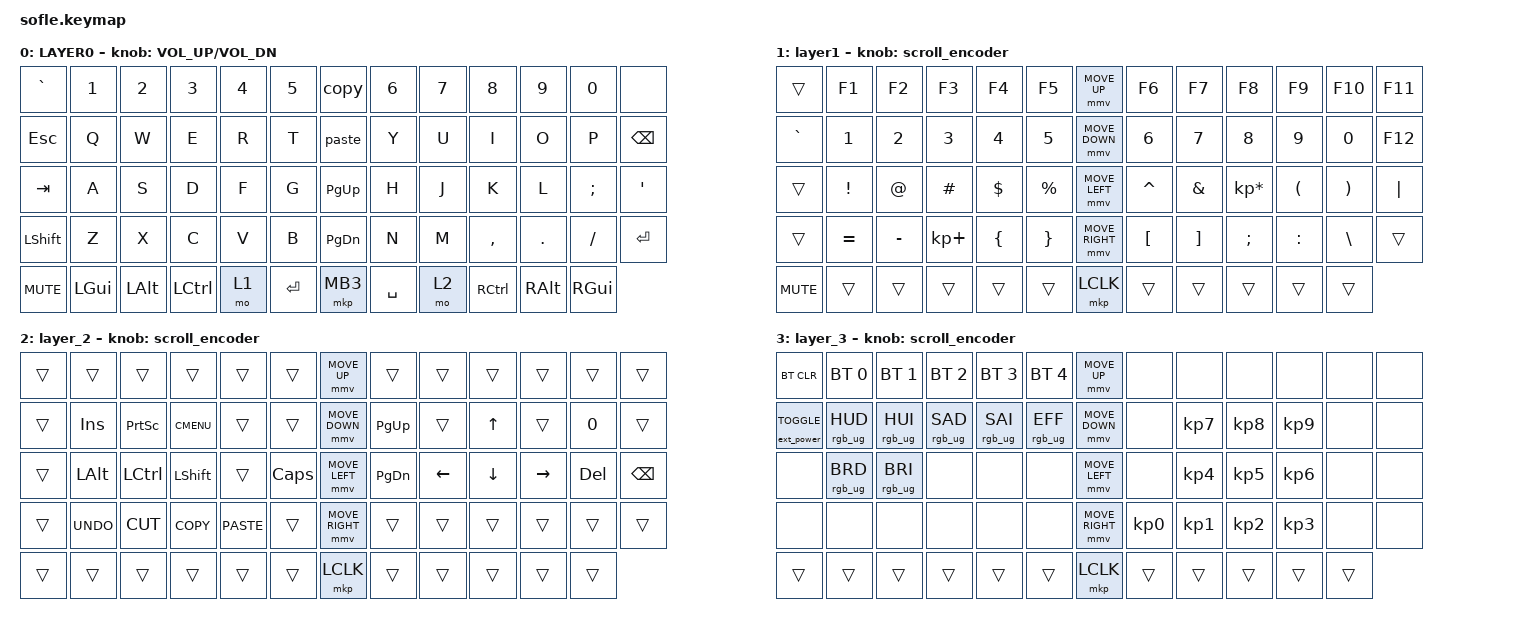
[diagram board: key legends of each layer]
#include <behaviors/mouse_keys.dtsi>
#include <behaviors.dtsi>
#include <dt-bindings/zmk/bt.h>
#include <dt-bindings/zmk/keys.h>
#include <dt-bindings/zmk/mouse.h>
#include <dt-bindings/zmk/outputs.h>
#include <dt-bindings/zmk/rgb.h>
#include <dt-bindings/zmk/ext_power.h>

#define ZMK_MOUSE_DEFAULT_MOVE_VAL 1200  // 600
#define ZMK_MOUSE_DEFAULT_SCRL_VAL 20    // 10
#define U_MS_U &mmv MOVE_UP
#define U_MS_D &mmv MOVE_DOWN
#define U_MS_L &mmv MOVE_LEFT
#define U_MS_R &mmv MOVE_RIGHT

#define BASE 0
#define LOWER 1
#define RAISE 2
#define ADJUST 3

/ {
    behaviors {
        mmv {
            acceleration-exponent = <1>;      // 1
            time-to-max-speed-ms = <900>;    // 40
            delay-ms = <0>;                   // 0
        };

        msc {
            acceleration-exponent = <1>;      // 0
            time-to-max-speed-ms = <400>;      // 500
            delay-ms = <0>;                   //   10
        };
        
        paste: paste {
            compatible = "zmk,behavior-macro";
            #binding-cells = <0>;
            bindings = <&kp LCTRL &kp V>;
        };

        copy: copy {
            compatible = "zmk,behavior-macro";
            #binding-cells = <0>;
            bindings = <&kp LCTRL &kp C>;
        };
    };

    scroll_encoder: scroll_encoder {
        compatible = "zmk,behavior-sensor-rotate";
        #sensor-binding-cells = <0>;
        bindings = <&msc SCRL_DOWN>, <&msc SCRL_UP>;

        tap-ms = <30>;
    };

    conditional_layers {
        compatible = "zmk,conditional-layers";
        adjust_layer {
            if-layers = <LOWER RAISE>;
            then-layer = <ADJUST>;
        };
    };

    keymap {
        compatible = "zmk,keymap";

        layer0 {
            bindings = <
&kp GRAVE   &kp N1         &kp N2        &kp N3        &kp N4  &kp N5       &copy            &kp N6     &kp N7     &kp N8     &kp N9              &kp N0      &none
&kp ESC     &kp Q          &kp W         &kp E         &kp R   &kp T        &paste           &kp Y      &kp U      &kp I      &kp O               &kp P       &kp BACKSPACE
&kp TAB     &kp A          &kp S         &kp D         &kp F   &kp G        &kp PG_UP        &kp H      &kp J      &kp K      &kp L               &kp SEMI    &kp APOS
&kp LSHFT   &kp Z          &kp X         &kp C         &kp V   &kp B        &kp PG_DN        &kp N      &kp M      &kp COMMA  &kp DOT             &kp FSLH    &kp ENTER
&kp C_MUTE  &kp LEFT_GUI   &kp LEFT_ALT  &kp LCTRL     &mo 1   &kp ENTER    &mkp MB3         &kp SPACE  &mo 2      &kp RCTRL      &kp RIGHT_ALT   &kp RIGHT_GUI
            >;

            sensor-bindings = <&inc_dec_kp C_VOLUME_UP C_VOL_DN>;
            display-name = "LAYER0";
        };

        layer_1 {
            bindings = <
&trans      &kp F1    &kp F2    &kp F3      &kp F4    &kp F5     &mmv MOVE_UP     &kp F6    &kp F7   &kp F8          &kp F9    &kp F10   &kp F11
&kp GRAVE   &kp N1    &kp N2    &kp N3      &kp N4    &kp N5     &mmv MOVE_DOWN   &kp N6    &kp N7   &kp N8          &kp N9    &kp N0    &kp F12
&trans      &kp EXCL  &kp AT    &kp HASH    &kp DLLR  &kp PRCNT  &mmv MOVE_LEFT   &kp CARET &kp AMPS &kp KP_MULTIPLY &kp LPAR  &kp RPAR  &kp PIPE
&trans      &kp EQUAL &kp MINUS &kp KP_PLUS &kp LBRC  &kp RBRC   &mmv MOVE_RIGHT  &kp LBKT  &kp RBKT &kp SEMI        &kp COLON &kp BSLH  &trans
&kp C_MUTE  &trans    &trans    &trans      &trans    &trans     &mkp LCLK        &trans    &trans   &trans          &trans    &trans
            >;

            display-name = "layer1";
            sensor-bindings = <&scroll_encoder>;
        };

        layer_2 {
            bindings = <
&trans 	   &trans	&trans	     &trans	  &trans       &trans     &mmv MOVE_UP     &trans    &trans    &trans   &trans    &trans  &trans
&trans     &kp INS      &kp PSCRN    &kp K_CMENU  &trans       &trans     &mmv MOVE_DOWN   &kp PG_UP &trans    &kp UP   &trans    &kp N0  &trans
&trans     &kp LALT     &kp LCTRL    &kp LSHFT    &trans       &kp CLCK   &mmv MOVE_LEFT   &kp PG_DN &kp LEFT  &kp DOWN &kp RIGHT &kp DEL &kp BACKSPACE
&trans     &kp K_UNDO   &kp K_CUT    &kp K_COPY   &kp K_PASTE  &trans     &mmv MOVE_RIGHT  &trans    &trans    &trans   &trans    &trans  &trans
&trans     &trans        &trans          &trans        &trans        &trans          &mkp LCLK        &trans  &trans  &trans      &trans     &trans
            >;

            sensor-bindings = <&scroll_encoder>;
        };

        layer_3 {
            bindings = <
&bt BT_CLR                      &bt BT_SEL 0    &bt BT_SEL 1    &bt BT_SEL 2    &bt BT_SEL 3    &bt BT_SEL 4    &mmv MOVE_UP     &none &none &none &none &none &none
&ext_power EXT_POWER_TOGGLE_CMD &rgb_ug RGB_HUD &rgb_ug RGB_HUI &rgb_ug RGB_SAD &rgb_ug RGB_SAI &rgb_ug RGB_EFF &mmv MOVE_DOWN   &none &kp KP_N7 &kp KP_N8 &kp KP_N9 &none &none
&none                           &rgb_ug RGB_BRD &rgb_ug RGB_BRI &none           &none           &none           &mmv MOVE_LEFT   &none &kp KP_N4 &kp KP_N5 &kp KP_N6 &none &none
&none                           &none           &none           &none           &none           &none           &mmv MOVE_RIGHT  &kp KP_N0 &kp KP_N1 &kp KP_N2 &kp KP_N3 &none &none
&trans     &trans        &trans          &trans        &trans        &trans          &mkp LCLK        &trans  &trans  &trans     &trans     &trans
            >;

            sensor-bindings = <&scroll_encoder>;
        };
    };
};
